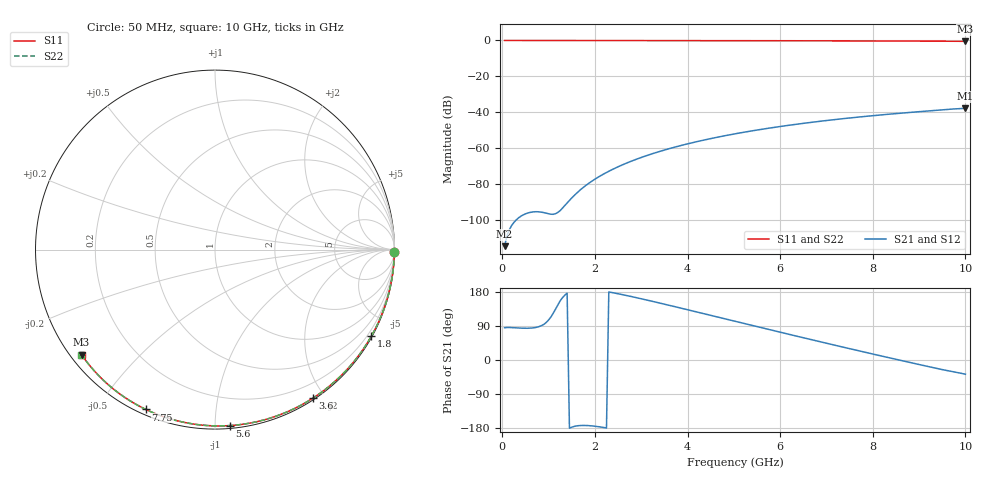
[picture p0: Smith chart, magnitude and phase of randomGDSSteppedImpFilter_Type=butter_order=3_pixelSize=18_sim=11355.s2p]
! freq	dB(S11)	phase(S11)	dB(S12)	phase(S12)
!  dB(S21)	phase(S21)	dB(S22)	phase(S22)
!S-par simulation data
#  GHz  S  DB  R 50
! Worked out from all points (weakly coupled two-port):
!   200 points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, 50 MHz to 10 GHz, reference 50 ohm
!   highest |S21| = -37.75 dB at 10 GHz (marker M1); lowest = -114.4 dB at 50 MHz (marker M2)
!   lowest |S11| = -0.5 dB at 10 GHz (marker M3), VSWR 36.38, Z = 1.54 - j17.3 ohm
!   |S11| at or under -10 dB: nowhere
!   |S22| runs from -0.5 to 0.0 dB; largest |S21 - S12| = 0
!   S11 on the Smith chart (normalised r, x): 50 MHz: open; 1.8 GHz: 0.03, -3.86; 3.6 GHz: 0.02, -1.85; 5.6 GHz: 0.02, -1.09; 7.75 GHz: 0.02, -0.66; 10 GHz: 0.03, -0.35
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0.05  -0.01 -0.8  -114.38 85.1  -114.38 85.1  -0.01 -0.8
0.45  -0.01 -7.3  -97.01 83.9  -97.01 83.9  -0.01 -7.3
0.9  -0.02 -14.6  -95.73 94.3  -95.73 94.3  -0.02 -14.7
1.75  -0.04 -28.2  -81.69 -172.7  -81.69 -172.7  -0.04 -28.3
1.8  -0.04 -29.0  -80.69 -172.8  -80.69 -172.8  -0.04 -29.0
1.85  -0.04 -29.8  -79.74 -173.0  -79.74 -173.0  -0.04 -29.8
2  -0.04 -32.2  -77.12 -174.7  -77.12 -174.7  -0.04 -32.2
2.15  -0.04 -34.5  -74.81 -177.3  -74.81 -177.3  -0.04 -34.6
2.35  -0.05 -37.7  -72.08 178.5  -72.08 178.5  -0.05 -37.7
2.55  -0.05 -40.8  -69.65 173.6  -69.65 173.6  -0.05 -40.8
2.95  -0.06 -46.9  -65.52 163.0  -65.52 163.0  -0.06 -46.9
3.4  -0.07 -53.7  -61.69 150.3  -61.69 150.3  -0.07 -53.7
3.6  -0.08 -56.7  -60.19 144.5  -60.19 144.5  -0.08 -56.7
4.3  -0.09 -66.9  -55.68 123.8  -55.68 123.8  -0.09 -67.0
5.05  -0.12 -77.6  -51.79 101.5  -51.79 101.5  -0.12 -77.6
5.6  -0.14 -85.2  -49.40 85.2  -49.40 85.2  -0.14 -85.2
6.15  -0.16 -92.6  -47.29 69.0  -47.29 69.0  -0.16 -92.6
6.7  -0.19 -99.9  -45.44 52.9  -45.44 52.9  -0.19 -99.9
7.75  -0.26 -113.4  -42.45 22.8  -42.45 22.8  -0.26 -113.5
8.35  -0.31 -121.0  -41.00 6.0  -41.00 6.0  -0.31 -121.0
9.15  -0.38 -131.0  -39.29 -16.0  -39.29 -16.0  -0.38 -131.1
10  -0.48 -141.8  -37.75 -37.5  -37.75 -37.5  -0.48 -141.8
